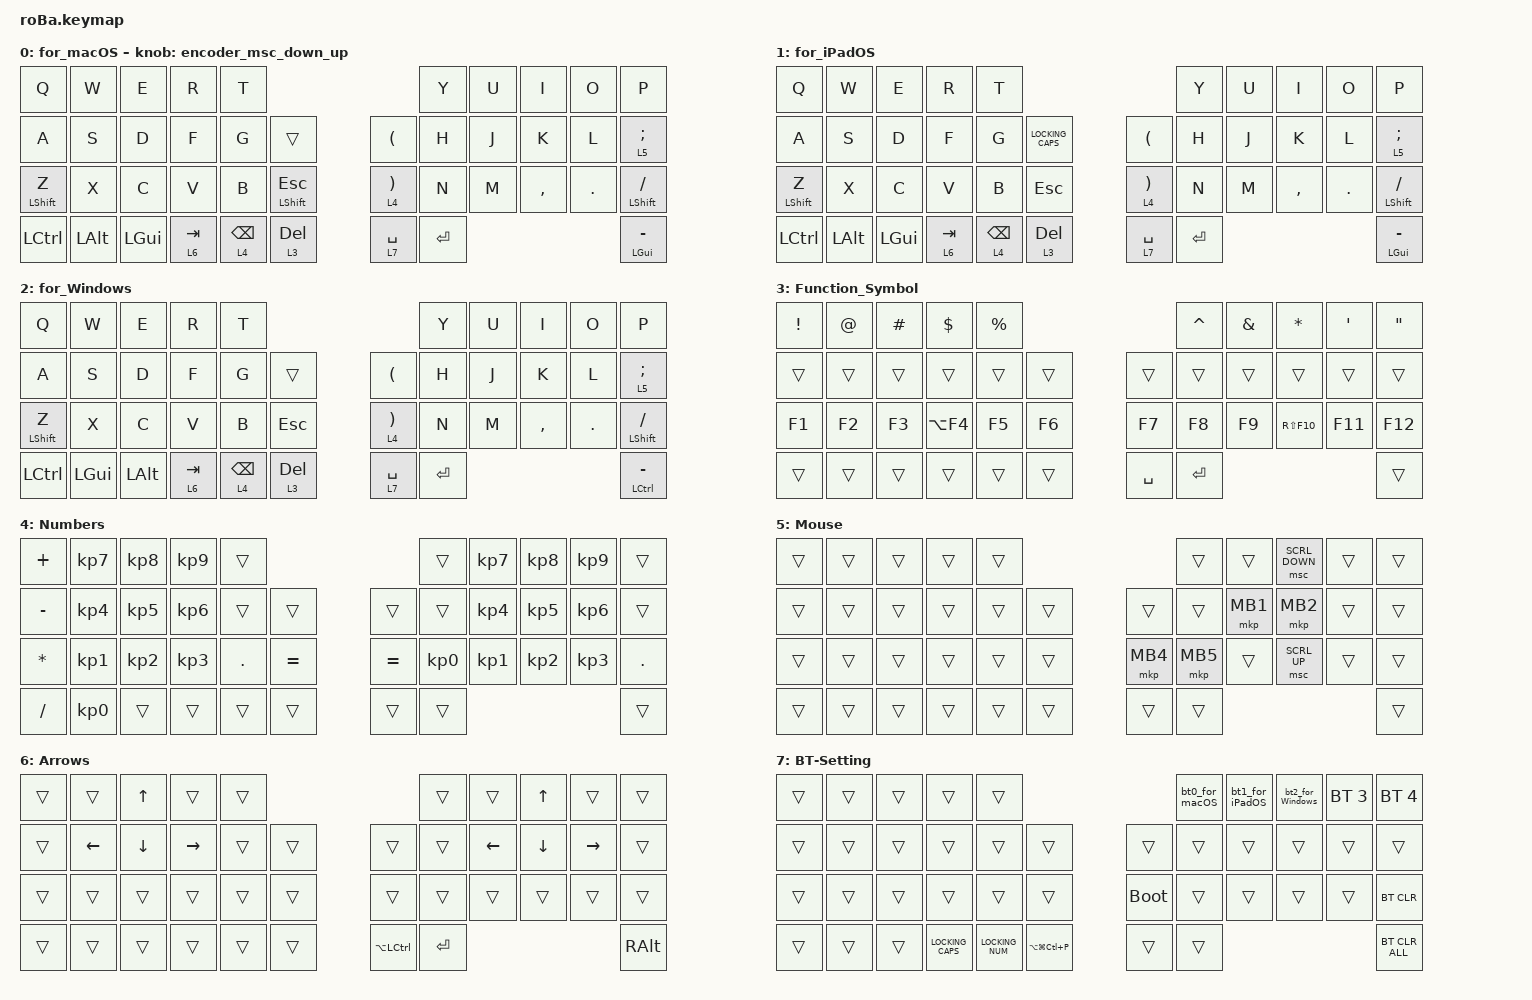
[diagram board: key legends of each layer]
#include <behaviors.dtsi>
#include <dt-bindings/zmk/bt.h>
#include <dt-bindings/zmk/keys.h>
#include <dt-bindings/zmk/pointing.h>

#define ZMK_POINTING_DEFAULT_SCRL_VAL 80

&mt {
    flavor = "balanced";
    quick-tap-ms = <0>;
};

/ {
    combos { compatible = "zmk,combos"; };

    behaviors {
        lt_to_layer_0: lt_to_layer_0 {
            compatible = "zmk,behavior-hold-tap";
            label = "LAYER_TAP_TO_0";
            bindings = <&mo>, <&to>;

            #binding-cells = <2>;
            tapping-term-ms = <200>;
        };

        encoder_msc_down_up: encoder_msc_down_up {
            compatible = "zmk,behavior-sensor-rotate";
            label = "ENCODER_MSC_DOWN_UP";
            #sensor-binding-cells = <0>;
            bindings = <&msc SCRL_DOWN>, <&msc SCRL_UP>;

            tap-ms = <20>;
        };

        tog_on: toggle_layer_on_only {
            compatible = "zmk,behavior-toggle-layer";
            #binding-cells = <1>;
            display-name = "Toggle Layer On";
            toggle-mode = "on";
        };

        tog_off: toggle_layer_off_only {
            compatible = "zmk,behavior-toggle-layer";
            #binding-cells = <1>;
            display-name = "Toggle Layer Off";
            toggle-mode = "off";
        };
    };

    macros {
        to_layer_0: to_layer_0 {
            compatible = "zmk,behavior-macro-one-param";
            #binding-cells = <1>;
            bindings = <&to 0 &macro_param_1to1 &kp MACRO_PLACEHOLDER>;
            label = "TO_LAYER_0";
        };

        bt0_for_macOS: bt0_for_macOS {
            compatible = "zmk,behavior-macro";
            #binding-cells = <0>;
            bindings =
                <&tog_off 1 &tog_off 2>,
                <&macro_wait_time 200>,
                <&tog_on 0>,
                <&macro_wait_time 500>,
                <&bt BT_SEL 0>;

            label = "BT0_FOR_MACOS";
        };

        bt1_for_iPadOS: bt1_for_iPadOS {
            compatible = "zmk,behavior-macro";
            #binding-cells = <0>;
            bindings =
                <&tog_off 0 &tog_off 2>,
                <&macro_wait_time 200>,
                <&tog_on 1>,
                <&macro_wait_time 500>,
                <&bt BT_SEL 1>;

            label = "BT1_FOR_IPADOS";
        };

        bt2_for_Windows: bt2_for_windows {
            compatible = "zmk,behavior-macro";
            #binding-cells = <0>;
            bindings =
                <&tog_off 0 &tog_off 1>,
                <&macro_wait_time 200>,
                <&tog_on 2>,
                <&macro_wait_time 500>,
                <&bt BT_SEL 2>;

            label = "BT2_FOR_WINDOWS";
        };
    };

    keymap {
        compatible = "zmk,keymap";

        for_macOS {
            bindings = <
&kp Q             &kp W         &kp E         &kp R      &kp T                                                                &kp Y       &kp U  &kp I      &kp O    &kp P
&kp A             &kp S         &kp D         &kp F      &kp G            &trans                     &kp LEFT_PARENTHESIS     &kp H       &kp J  &kp K      &kp L    &lt 5 SEMI
&mt LEFT_SHIFT Z  &kp X         &kp C         &kp V      &kp B            &mt LEFT_SHIFT ESCAPE      &lt 4 RIGHT_PARENTHESIS  &kp N       &kp M  &kp COMMA  &kp DOT  &mt LSHIFT SLASH
&kp LEFT_CONTROL  &kp LEFT_ALT  &kp LEFT_GUI  &lt 6 TAB  &lt 4 BACKSPACE  &lt 3 DELETE               &lt 7 SPACE              &kp RETURN                             &mt LGUI MINUS
            >;

            sensor-bindings = <&encoder_msc_down_up>;
            sensor-bindings = <&encoder_msc_down_up>;
        };

        for_iPadOS {
            bindings = <
&kp Q         &kp W     &kp E     &kp R      &kp T                                                           &kp Y      &kp U  &kp I      &kp O    &kp P
&kp A         &kp S     &kp D     &kp F      &kp G            &kp LOCKING_CAPS      &kp LEFT_PARENTHESIS     &kp H      &kp J  &kp K      &kp L    &lt 5 SEMI
&mt LSHIFT Z  &kp X     &kp C     &kp V      &kp B            &kp ESC               &lt 4 RIGHT_PARENTHESIS  &kp N      &kp M  &kp COMMA  &kp DOT  &mt LSHIFT SLASH
&kp LCTRL     &kp LALT  &kp LGUI  &lt 6 TAB  &lt 4 BACKSPACE  &lt 3 DELETE          &lt 7 SPACE              &kp ENTER                             &mt LGUI MINUS
            >;
        };

        for_Windows {
            bindings = <
&kp Q             &kp W         &kp E         &kp R      &kp T                                                       &kp Y      &kp U  &kp I      &kp O    &kp P
&kp A             &kp S         &kp D         &kp F      &kp G            &trans            &kp LEFT_PARENTHESIS     &kp H      &kp J  &kp K      &kp L    &lt 5 SEMI
&mt LEFT_SHIFT Z  &kp X         &kp C         &kp V      &kp B            &kp ESCAPE        &lt 4 RIGHT_PARENTHESIS  &kp N      &kp M  &kp COMMA  &kp DOT  &mt LSHIFT SLASH
&kp LEFT_CONTROL  &kp LEFT_GUI  &kp LEFT_ALT  &lt 6 TAB  &lt 4 BACKSPACE  &lt 3 DELETE      &lt 7 SPACE              &kp ENTER                             &mt LEFT_CONTROL MINUS
            >;
        };

        Function_Symbol {
            bindings = <
&kp EXCL  &kp AT  &kp HASH  &kp DOLLAR  &kp PERCENT                         &kp CARET   &kp AMPS  &kp ASTRK    &kp SINGLE_QUOTE  &kp DOUBLE_QUOTES
&trans    &trans  &trans    &trans      &trans       &trans      &trans     &trans      &trans    &trans       &trans            &trans
&kp F1    &kp F2  &kp F3    &kp LA(F4)  &kp F5       &kp F6      &kp F7     &kp F8      &kp F9    &kp RS(F10)  &kp F11           &kp F12
&trans    &trans  &trans    &trans      &trans       &trans      &kp SPACE  &kp RETURN                                           &trans
            >;
        };

        Numbers {
            bindings = <
&kp PLUS   &kp KP_NUMBER_7  &kp KP_NUMBER_8  &kp KP_NUMBER_9  &trans                             &trans           &kp KP_NUMBER_7  &kp KP_NUMBER_8  &kp KP_NUMBER_9  &trans
&kp MINUS  &kp KP_NUMBER_4  &kp KP_NUMBER_5  &kp KP_NUMBER_6  &trans   &trans         &trans     &trans           &kp KP_NUMBER_4  &kp KP_NUMBER_5  &kp KP_NUMBER_6  &trans
&kp ASTRK  &kp KP_NUMBER_1  &kp KP_NUMBER_2  &kp KP_NUMBER_3  &kp DOT  &kp EQUAL      &kp EQUAL  &kp KP_NUMBER_0  &kp KP_NUMBER_1  &kp KP_NUMBER_2  &kp KP_NUMBER_3  &kp DOT
&kp SLASH  &kp KP_NUMBER_0  &trans           &trans           &trans   &trans         &trans     &trans                                                              &trans
            >;
        };

        Mouse {
            bindings = <
&trans  &trans  &trans  &trans  &trans                        &trans    &trans    &msc SCRL_DOWN  &trans  &trans
&trans  &trans  &trans  &trans  &trans  &trans      &trans    &trans    &mkp MB1  &mkp MB2        &trans  &trans
&trans  &trans  &trans  &trans  &trans  &trans      &mkp MB4  &mkp MB5  &trans    &msc SCRL_UP    &trans  &trans
&trans  &trans  &trans  &trans  &trans  &trans      &trans    &trans                                      &trans
            >;
        };

        Arrows {
            bindings = <
&trans  &trans          &kp UP_ARROW    &trans           &trans                                    &trans   &trans    &kp UP_ARROW    &trans     &trans
&trans  &kp LEFT_ARROW  &kp DOWN_ARROW  &kp RIGHT_ARROW  &trans  &trans      &trans                &trans   &kp LEFT  &kp DOWN_ARROW  &kp RIGHT  &trans
&trans  &trans          &trans          &trans           &trans  &trans      &trans                &trans   &trans    &trans          &trans     &trans
&trans  &trans          &trans          &trans           &trans  &trans      &kp LA(LEFT_CONTROL)  &kp RET                                       &kp RIGHT_ALT
            >;
        };

        BT-Setting {
            bindings = <
&trans  &trans  &trans  &trans            &trans                                               &bt0_for_macOS  &bt1_for_iPadOS  &bt2_for_Windows  &bt BT_SEL 3  &bt BT_SEL 4
&trans  &trans  &trans  &trans            &trans           &trans                 &trans       &trans          &trans           &trans            &trans        &trans
&trans  &trans  &trans  &trans            &trans           &trans                 &bootloader  &trans          &trans           &trans            &trans        &bt BT_CLR
&trans  &trans  &trans  &kp LOCKING_CAPS  &kp LOCKING_NUM  &kp LA(LG(LC(P)))      &trans       &trans                                                           &bt BT_CLR_ALL
            >;
        };
    };
};
